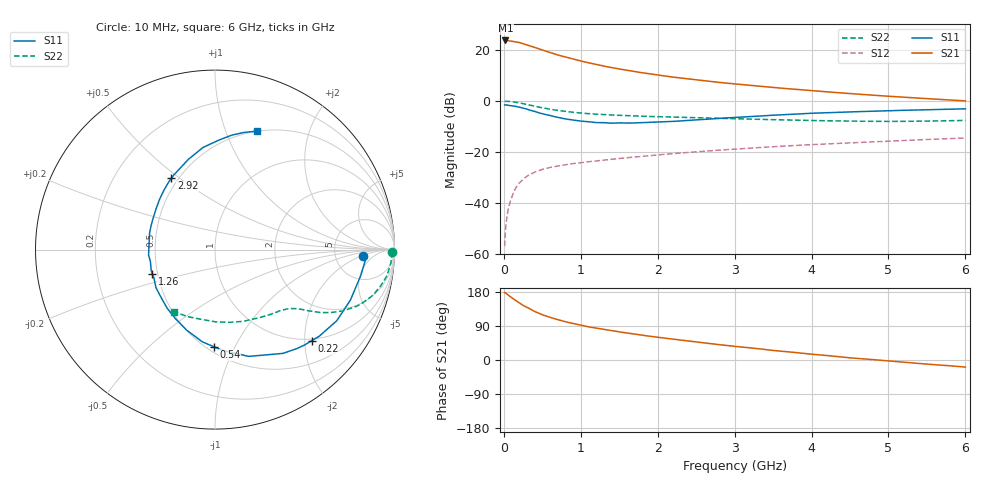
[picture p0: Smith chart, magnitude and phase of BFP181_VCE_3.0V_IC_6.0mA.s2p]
! Infineon Technologies  Discrete & RF Semiconductors
! BFP181
! VCE = 3.0 V,  IC =  6.0 mA
! Common Emitter S-Parameters:  Jan 2016
# GHz  S  MA  R  50
!  f  S11  S21  S12  S22
! GHz  MAG  ANG  MAG  ANG  MAG  ANG  MAG  ANG
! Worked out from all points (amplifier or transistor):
!   210 points, 10 MHz to 6 GHz, reference 50 ohm
!   highest |S21| = 23.8 dB at 20 MHz (marker M1)
!   |S21| within 3 dB of that: start of sweep to 428.5 MHz
!   unconditionally stable (mu >= 1): 1.539 GHz to end of sweep
!   at 185 MHz: K = 0.19, MSG = 28.0 dB, |S12| = -32.9 dB
!   at 1.52 GHz: K = 1.00, MSG = 17.5 dB, |S12| = -22.6 dB
!   at 6 GHz: K = 1.04, MAG = 6.1 dB, |S12| = -14.6 dB
!   S11 on the Smith chart (normalised r, x): 10 MHz: 10, -2; 220 MHz: 0.96, -2.16; 540 MHz: 0.54, -0.83; 1.26 GHz: 0.47, -0.15; 2.92 GHz: 0.46, +0.47; 6 GHz: 0.50, +1.29
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0.01  0.8276 -2.3  15.42 178.4  0.0014 84.1  0.9869 -0.8
0.02  0.8391 -4.3  15.43 177.3  0.0026 95.9  0.9863 -1.7
0.055  0.8217 -11.1  15.28 171.6  0.0072 86.8  0.9811 -4.7
0.15  0.7857 -30.3  14.51 157.4  0.0189 74.0  0.9455 -12.3
0.22  0.7403 -43.3  13.73 148.0  0.0261 67.5  0.9038 -17.2
0.26  0.7161 -50.3  13.16 143.0  0.0297 64.1  0.8774 -19.6
0.3  0.6911 -56.8  12.64 139.0  0.0332 61.7  0.8526 -21.6
0.4  0.6239 -72.5  11.31 128.1  0.0398 56.5  0.7893 -25.7
0.5  0.561 -86.2  10.02 119.4  0.0452 51.9  0.7327 -28.6
0.54  0.5413 -90.7  9.592 116.8  0.0469 50.6  0.7143 -29.4
0.6  0.5184 -97.9  8.998 112.5  0.0495 48.8  0.687 -30.7
0.74  0.4615 -113.2  7.705 104.3  0.0537 46.2  0.6394 -32.5
0.9  0.4221 -129.0  6.648 96.2  0.0588 44.0  0.5977 -34.1
1.02  0.399 -140.1  5.978 91.0  0.0617 43.6  0.5745 -35.2
1.26  0.374 -159.0  4.968 82.2  0.0677 42.3  0.543 -37.2
1.52  0.3703 -176.8  4.196 73.6  0.0744 41.8  0.5199 -39.5
2.02  0.3842 155.2  3.195 59.5  0.0874 40.5  0.4902 -45.2
2.92  0.4657 121.4  2.221 37.8  0.1111 36.5  0.4489 -58.3
3.1  0.4822 116.4  2.091 34.1  0.1158 35.5  0.4413 -61.3
4.1  0.5788 95.0  1.552 13.6  0.1408 29.4  0.4102 -80.7
5.1  0.6493 80.6  1.209 -4.0  0.164 23.1  0.3961 -102.8
6  0.6995 70.6  1.001 -18.6  0.187 16.7  0.4146 -123.4
